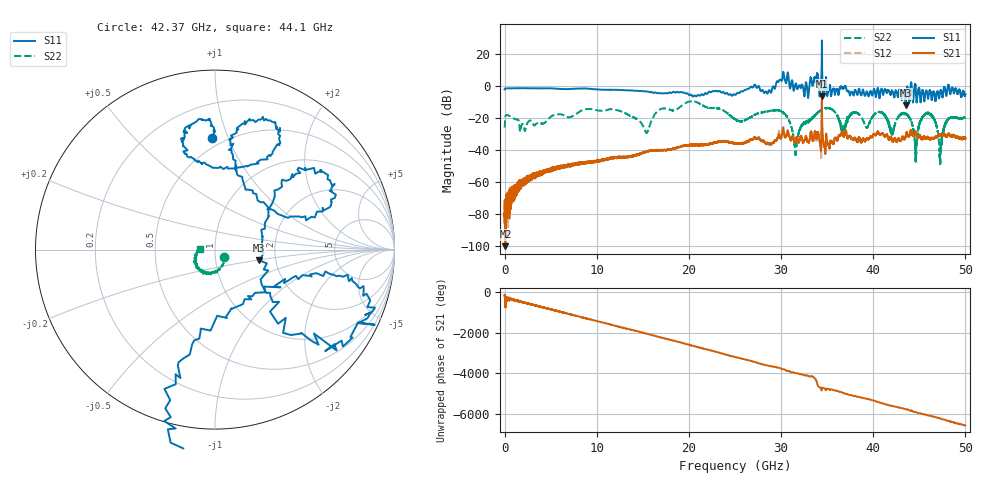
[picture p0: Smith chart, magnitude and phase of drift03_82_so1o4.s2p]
!Created with skrf (http://scikit-rf.org).
# Hz S RI R 50.0
!freq ReS11 ImS11 ReS21 ImS21 ReS12 ImS12 ReS22 ImS22
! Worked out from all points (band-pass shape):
!   10000 points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, 5.3 MHz to 50 GHz, reference 50 ohm
!   highest |S21| = -6.47 dB at 34.43 GHz (marker M1); lowest = -100.0 dB at 90.3 MHz (marker M2)
!   |S21| within 3 dB of the highest: 34.4276 GHz to 34.43479 GHz (7.187 MHz wide, 0.0209 % of centre)
!   lowest |S11| = -11.9 dB at 43.53 GHz (marker M3), VSWR 1.68, Z = 82 - j10.5 ohm
!   |S11| at or under -10 dB: 43.4849 GHz to 43.54457 GHz (59.67 MHz wide, 0.137 % of centre); 44.30388 GHz to 44.3175 GHz (13.62 MHz wide, 0.0307 % of centre); 44.70455 GHz to 44.7137 GHz (9.147 MHz wide, 0.0205 % of centre) (the widest 3 of 7)
!   |S22| runs from -49.8 to -9.5 dB; largest |S21 - S12| = 0.14
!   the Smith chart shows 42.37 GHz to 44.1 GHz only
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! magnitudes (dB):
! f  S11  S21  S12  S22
! 5.3 MHz  -2.1  -79.1  -76.6  -25.9
! 90.3 MHz  -1.5  -100.0  -77.8  -18.9
! 2.42 GHz  -1.4  -55.9  -59.0  -23.8
! 8.34 GHz  -1.5  -48.6  -48.0  -15.3
! 15.4 GHz  -3.4  -40.8  -40.8  -29.0
! 16.67 GHz  -4.4  -40.1  -40.2  -15.3
! 20.47 GHz  -6.4  -36.7  -36.7  -9.5
! 25.01 GHz  -5.5  -36.0  -35.7  -20.8
! 29.93 GHz  4.0  -32.4  -31.5  -15.6
! 31.59 GHz  1.4  -33.9  -34.0  -43.0
! 33.34 GHz  2.6  -30.2  -30.4  -20.2
! 34.43 GHz  28.5  -6.5  -8.5  -14.5
! 36.71 GHz  -1.5  -30.2  -30.2  -28.2
! 37.95 GHz  -3.9  -32.9  -32.4  -16.2
! 41.67 GHz  -2.8  -33.2  -33.3  -22.4
! 43.53 GHz  -11.9  -31.4  -31.3  -17.1
! 44.62 GHz  -2.6  -29.4  -29.5  -43.0
! 45.27 GHz  -4.0  -32.8  -33.3  -20.2
! 46.28 GHz  -5.7  -32.4  -32.7  -17.4
! 47.29 GHz  -2.9  -30.8  -30.9  -48.3
! 48.12 GHz  0.4  -30.2  -30.1  -21.0
! 50 GHz  -5.2  -32.6  -32.6  -19.5
